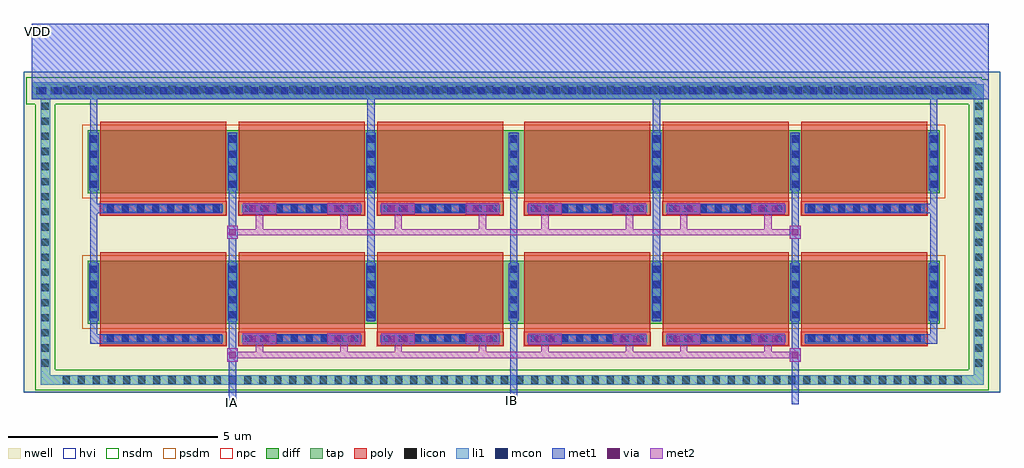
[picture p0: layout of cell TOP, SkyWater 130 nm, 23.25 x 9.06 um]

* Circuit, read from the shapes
.subckt TOP IA IB VDD
XM1 IA VDD VDD VDD sky130_fd_pr__pfet_g5v0d10v5 w=1.5 l=3 m=4
XM2 VDD IA IA VDD sky130_fd_pr__pfet_g5v0d10v5 w=1.5 l=3 m=4
XM3 IB IA VDD VDD sky130_fd_pr__pfet_g5v0d10v5 w=1.5 l=3 m=4
.ends

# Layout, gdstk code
from math import pi, radians
import gdstk
lib = gdstk.Library(unit=1e-6, precision=1e-09)
def R(c, l, rs):  # rectangles x0, y0, x1, y1
    for r in rs: c.add(gdstk.rectangle(r[:2], r[2:], *l))
def A(c, l, x, y, w, h, nx, ny, dx, dy):  # array of equal rectangles
    R(c, l, [(x+i*dx, y+j*dy, x+i*dx+w, y+j*dy+h) for i in range(nx) for j in range(ny)])
def P(c, l, *ps):  # polygons
    for p in ps: c.add(gdstk.Polygon(p, *l))
nwell = (64, 20)
diff = (65, 20)
tap = (65, 44)
poly = (66, 20)
licon = (66, 44)
li1 = (67, 20)
mcon = (67, 44)
met1 = (68, 20)
via = (68, 44)
met2 = (69, 20)
hvi = (75, 20)
nsdm = (93, 44)
psdm = (94, 20)
npc = (95, 20)

pfet = lib.new_cell('pfet')
R(pfet, nwell, [(-0.465,-0.88,4.065,2.04)])
R(pfet, diff, [(0,0,3.6,1.5)])
R(pfet, poly, [(0.3,-0.53,3.3,-0.2), (0.3,-0.2,3.3,1.7)])
A(pfet, licon, 0.455, -0.45, 0.17, 0.17, 8, 1, 0.36, 0)
A(pfet, licon, 0.065, 0.125, 0.17, 0.17, 1, 4, 0, 0.36)
A(pfet, licon, 3.365, 0.125, 0.17, 0.17, 1, 4, 0, 0.36)
R(pfet, li1, [(0.375,-0.45,3.225,-0.28), (0.065,0.045,0.235,1.455), (3.365,0.045,3.535,1.455)])
A(pfet, mcon, 0.455, -0.45, 0.17, 0.17, 8, 1, 0.36, 0)
A(pfet, mcon, 0.065, 0.125, 0.17, 0.17, 1, 4, 0, 0.36)
A(pfet, mcon, 3.365, 0.125, 0.17, 0.17, 1, 4, 0, 0.36)
R(pfet, met1, [(0.395,-0.48,3.205,-0.25), (0.035,0.065,0.265,1.435), (3.335,0.065,3.565,1.435)])
R(pfet, hvi, [(-0.465,-0.88,4.065,2.04)])
R(pfet, psdm, [(-0.125,-0.125,3.725,1.625)])
R(pfet, npc, [(0.29,-0.54,3.31,-0.19)])

pfet_1 = lib.new_cell('pfet$1')
R(pfet_1, nwell, [(-0.465,-0.88,7.565,2.04)])
R(pfet_1, diff, [(0,0,7.1,1.5)])
R(pfet_1, poly, [(0.3,-0.53,3.3,-0.2), (3.8,-0.53,6.8,-0.2), (0.3,-0.2,3.3,1.7), (3.8,-0.2,6.8,1.7)])
A(pfet_1, licon, 0.455, -0.45, 0.17, 0.17, 8, 1, 0.36, 0)
A(pfet_1, licon, 3.955, -0.45, 0.17, 0.17, 8, 1, 0.36, 0)
A(pfet_1, licon, 0.065, 0.125, 0.17, 0.17, 3, 4, 3.4, 0.36)
A(pfet_1, li1, 0.065, 0.045, 0.17, 1.41, 3, 1, 3.4, 0)
R(pfet_1, li1, [(0.375,-0.45,3.225,-0.28), (3.875,-0.45,6.725,-0.28)])
A(pfet_1, mcon, 0.455, -0.45, 0.17, 0.17, 8, 1, 0.36, 0)
A(pfet_1, mcon, 3.955, -0.45, 0.17, 0.17, 8, 1, 0.36, 0)
A(pfet_1, mcon, 0.065, 0.125, 0.17, 0.17, 3, 4, 3.4, 0.36)
A(pfet_1, met1, 0.035, 0.065, 0.23, 1.37, 3, 1, 3.4, 0)
R(pfet_1, met1, [(0.395,-0.48,3.205,-0.25), (3.895,-0.48,6.705,-0.25)])
R(pfet_1, hvi, [(-0.465,-0.88,7.565,2.04)])
R(pfet_1, psdm, [(-0.125,-0.125,7.225,1.625)])
R(pfet_1, npc, [(0.29,-0.54,3.31,-0.19), (3.79,-0.54,6.81,-0.19)])

guard_ring_gen = lib.new_cell('guard_ring_gen')
P(guard_ring_gen, tap, [(-0.23,-0.23),(-0.23,22),(0,22),(0,0),(6.7,0),(6.7,22),(-0.23,22),(-0.23,22.23),(6.93,22.23),(6.93,-0.23)])
A(guard_ring_gen, licon, 0.205, -0.2, 0.17, 0.17, 18, 2, 0.36, 22.23)
A(guard_ring_gen, licon, -0.2, 0.295, 0.17, 0.17, 1, 60, 0, 0.36)
A(guard_ring_gen, licon, 6.73, 0.295, 0.17, 0.17, 1, 60, 0, 0.36)
P(guard_ring_gen, li1, [(-0.23,-0.23),(-0.23,22),(0,22),(0,0),(6.7,0),(6.7,22),(-0.23,22),(-0.23,22.23),(6.93,22.23),(6.93,-0.23)])
P(guard_ring_gen, nsdm, [(-0.355,-0.355),(-0.355,21.875),(0.125,21.875),(0.125,0.125),(6.575,0.125),(6.575,21.875),(-0.355,21.875),(-0.355,22.355),(7.055,22.355),(7.055,-0.355)])

vias_gen_1 = lib.new_cell('vias_gen$1')
R(vias_gen_1, diff, [(0,0,22.5,0.4)])
A(vias_gen_1, licon, 0.115, 0.115, 0.17, 0.17, 66, 1, 0.34, 0)
R(vias_gen_1, li1, [(0,0,22.5,0.4)])
A(vias_gen_1, mcon, 0.185, 0.115, 0.17, 0.17, 62, 1, 0.36, 0)
R(vias_gen_1, met1, [(0,0,22.5,0.4)])
R(vias_gen_1, nsdm, [(-0.125,-0.125,22.625,0.525)])

vias_gen_3 = lib.new_cell('vias_gen$3')
R(vias_gen_3, met1, [(0,0,0.32,0.26)])
R(vias_gen_3, via, [(0.085,0.055,0.235,0.205)])
R(vias_gen_3, met2, [(0,0,0.32,0.26)])

vias_gen_5 = lib.new_cell('vias_gen$5')
R(vias_gen_5, met1, [(0,0,0.8,0.26)])
R(vias_gen_5, via, [(0.165,0.055,0.315,0.205), (0.485,0.055,0.635,0.205)])
R(vias_gen_5, met2, [(0,0,0.8,0.26)])

top = lib.new_cell('TOP')
R(top, nwell, [(-11.745,-2.98,11.5,4.665)])
R(top, met1, [(6.535,-3.25,6.705,1.915), (-6.865,-3.245,-6.695,1.9), (-0.165,-3.21,0.005,2.21), (-10.165,-1.81,-9.995,4.145), (-10.165,-1.81,-9.835,-1.58), (9.675,-1.81,10.005,-1.58), (9.835,-1.81,10.005,4.2), (-3.565,-1.265,-3.395,4.22), (3.235,-1.265,3.405,4.315), (-10.165,1.295,-9.835,1.525), (9.675,1.295,10.005,1.525), (-11.565,4.015,11.235,5.81)])
R(top, met2, [(0.58,-2.155,0.75,-1.625), (2.59,-2.155,2.76,-1.625), (-6.78,-2.15,6.555,-2), (-6.22,-2.15,-6.05,-1.62), (-4.21,-2.15,-4.04,-1.62), (-2.92,-2.15,-2.75,-1.62), (-0.91,-2.15,-0.74,-1.62), (3.88,-2.15,4.05,-1.62), (5.89,-2.15,6.06,-1.62), (-6.78,0.77,6.555,0.92), (-6.22,0.77,-6.05,1.485), (-6.22,0.77,-6.05,1.485), (-4.21,0.77,-4.04,1.485), (-4.21,0.77,-4.04,1.485), (-2.92,0.77,-2.75,1.485), (-0.91,0.77,-0.74,1.485), (0.58,0.77,0.75,1.485), (2.59,0.77,2.76,1.485), (3.88,0.77,4.05,1.485), (5.89,0.77,6.06,1.485)])
R(top, hvi, [(-11.745,-2.96,11.5,4.665)])
top.add(gdstk.Reference(pfet, (-6.93,1.775)))
top.add(gdstk.Reference(pfet, (-6.93,-1.33)))
top.add(gdstk.Reference(pfet, (3.17,1.775)))
top.add(gdstk.Reference(pfet, (3.17,-1.33)))
top.add(gdstk.Reference(pfet_1, (-3.63,1.775)))
top.add(gdstk.Reference(pfet, (-10.23,-1.33)))
top.add(gdstk.Reference(pfet, (6.47,-1.33)))
top.add(gdstk.Reference(pfet, (6.47,1.775)))
top.add(gdstk.Reference(pfet, (-10.23,1.775)))
top.add(gdstk.Reference(pfet_1, (-3.63,-1.33)))
top.add(gdstk.Reference(guard_ring_gen, (10.88,-2.56), rotation=pi/2))
top.add(gdstk.Reference(vias_gen_1, (-11.565,4.015)))
top.add(gdstk.Reference(vias_gen_3, (6.75,0.685), rotation=pi/2))
top.add(gdstk.Reference(vias_gen_3, (-6.65,0.685), rotation=pi/2))
top.add(gdstk.Reference(vias_gen_5, (-4.525,1.28)))
top.add(gdstk.Reference(vias_gen_5, (-1.225,1.28)))
top.add(gdstk.Reference(vias_gen_5, (-3.235,1.28)))
top.add(gdstk.Reference(vias_gen_5, (-6.535,1.28)))
top.add(gdstk.Reference(vias_gen_5, (2.275,1.275)))
top.add(gdstk.Reference(vias_gen_5, (5.575,1.275)))
top.add(gdstk.Reference(vias_gen_5, (3.565,1.275)))
top.add(gdstk.Reference(vias_gen_5, (0.265,1.275)))
top.add(gdstk.Reference(vias_gen_5, (-4.525,-1.825)))
top.add(gdstk.Reference(vias_gen_5, (-1.225,-1.825)))
top.add(gdstk.Reference(vias_gen_5, (-3.235,-1.825)))
top.add(gdstk.Reference(vias_gen_5, (-6.535,-1.825)))
top.add(gdstk.Reference(vias_gen_5, (2.275,-1.83)))
top.add(gdstk.Reference(vias_gen_5, (5.575,-1.83)))
top.add(gdstk.Reference(vias_gen_5, (3.565,-1.83)))
top.add(gdstk.Reference(vias_gen_5, (0.265,-1.83)))
top.add(gdstk.Reference(vias_gen_3, (-6.65,-2.235), rotation=pi/2))
top.add(gdstk.Reference(vias_gen_3, (6.75,-2.235), rotation=pi/2))
top.add(gdstk.Reference(pfet, (-6.93,-1.33)))
top.add(gdstk.Label('VDD', (-11.43,5.63), layer=68, texttype=16))
top.add(gdstk.Label('IA', (-6.805,-3.21), layer=68, texttype=16))
top.add(gdstk.Label('IB', (-0.125,-3.17), layer=68, texttype=16))

lib.write_gds('TOP.gds')
